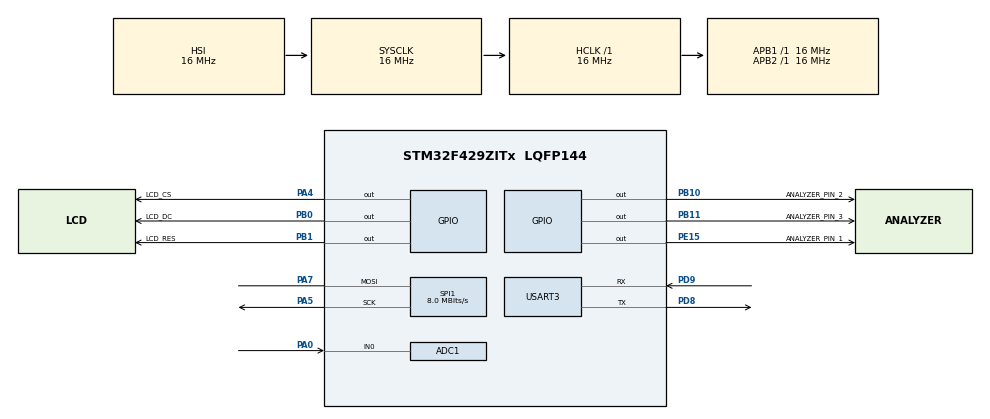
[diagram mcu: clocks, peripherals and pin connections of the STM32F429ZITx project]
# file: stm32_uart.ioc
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ADC1.Channel-0\#ChannelRegularConversion=ADC_CHANNEL_0
ADC1.DMAContinuousRequests=ENABLE
ADC1.ExternalTrigConv=ADC_EXTERNALTRIGCONV_T3_TRGO
ADC1.NbrOfConversionFlag=1
ADC1.Rank-0\#ChannelRegularConversion=1
ADC1.SamplingTime-0\#ChannelRegularConversion=ADC_SAMPLETIME_480CYCLES
ADC1.master=1
Dma.ADC1.0.Direction=DMA_PERIPH_TO_MEMORY
Dma.ADC1.0.FIFOMode=DMA_FIFOMODE_DISABLE
Dma.ADC1.0.Instance=DMA2_Stream0
Dma.ADC1.0.MemDataAlignment=DMA_MDATAALIGN_HALFWORD
Dma.ADC1.0.MemInc=DMA_MINC_ENABLE
Dma.ADC1.0.Mode=DMA_CIRCULAR
Dma.ADC1.0.PeriphDataAlignment=DMA_PDATAALIGN_HALFWORD
Dma.ADC1.0.PeriphInc=DMA_PINC_DISABLE
Dma.ADC1.0.Priority=DMA_PRIORITY_HIGH
Dma.Request0=ADC1
Dma.Request1=SPI1_TX
Dma.SPI1_TX.1.Direction=DMA_MEMORY_TO_PERIPH
Dma.SPI1_TX.1.FIFOMode=DMA_FIFOMODE_DISABLE
Dma.SPI1_TX.1.Instance=DMA2_Stream3
Dma.SPI1_TX.1.MemDataAlignment=DMA_MDATAALIGN_BYTE
Dma.SPI1_TX.1.MemInc=DMA_MINC_ENABLE
Dma.SPI1_TX.1.Mode=DMA_NORMAL
Dma.SPI1_TX.1.PeriphDataAlignment=DMA_PDATAALIGN_BYTE
Dma.SPI1_TX.1.PeriphInc=DMA_PINC_DISABLE
Dma.SPI1_TX.1.Priority=DMA_PRIORITY_LOW
Mcu.Family=STM32F4
Mcu.Name=STM32F429ZITx
Mcu.Package=LQFP144
NVIC.DMA2_Stream0_IRQn=true\:0\:0\:false\:false\:true\:false\:true\:true
NVIC.DMA2_Stream3_IRQn=true\:0\:0\:false\:false\:true\:false\:true\:true
NVIC.PriorityGroup=NVIC_PRIORITYGROUP_4
PA0/WKUP.Signal=ADCx_IN0
PA4.GPIO_Label=LCD_CS
PA4.PinState=GPIO_PIN_SET
PA4.Signal=GPIO_Output
PA5.Mode=Simplex_Bidirectional_Master
PA5.Signal=SPI1_SCK
PA7.Mode=Simplex_Bidirectional_Master
PA7.Signal=SPI1_MOSI
PB0.GPIO_Label=LCD_DC
PB0.Signal=GPIO_Output
PB1.GPIO_Label=LCD_RES
PB1.PinState=GPIO_PIN_SET
PB1.Signal=GPIO_Output
PB10.GPIO_Label=ANALYZER_PIN_2
PB10.Signal=GPIO_Output
PB11.GPIO_Label=ANALYZER_PIN_3
PB11.Signal=GPIO_Output
PD8.Mode=Asynchronous
PD8.Signal=USART3_TX
PD9.Mode=Asynchronous
PD9.Signal=USART3_RX
PE15.GPIO_Label=ANALYZER_PIN_1
PE15.Signal=GPIO_Output
ProjectManager.HeapSize=0x200
ProjectManager.StackSize=0x400
ProjectManager.TargetToolchain=CMake
RCC.AHBFreq_Value=16000000
RCC.APB1Freq_Value=16000000
RCC.APB2Freq_Value=16000000
RCC.CortexFreq_Value=16000000
RCC.HSE_VALUE=25000000
RCC.HSI_VALUE=16000000
RCC.LSE_VALUE=32768
RCC.SYSCLKFreq_VALUE=16000000
RCC.VCOOutputFreq_Value=192000000
SH.ADCx_IN0.0=ADC1_IN0,IN0
SPI1.BaudRatePrescaler=SPI_BAUDRATEPRESCALER_2
SPI1.CalculateBaudRate=8.0 MBits/s
SPI1.Direction=SPI_DIRECTION_1LINE
SPI1.Mode=SPI_MODE_MASTER
SPI1.VirtualType=VM_MASTER
TIM3.Period=999
TIM3.TIM_MasterOutputTrigger=TIM_TRGO_UPDATE
USART3.VirtualMode=VM_ASYNC
VP_TIM3_VS_ClockSourceINT.Mode=Internal
board=custom

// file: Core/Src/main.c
/* USER CODE BEGIN Header */
/**
  ******************************************************************************
  * @file           : main.c
  * @brief          : Main program body
  ******************************************************************************
  * @attention
  *
  * Copyright (c) 2025 STMicroelectronics.
  * All rights reserved.
  *
  * This software is licensed under terms that can be found in the LICENSE file
  * in the root directory of this software component.
  * If no LICENSE file comes with this software, it is provided AS-IS.
  *
  ******************************************************************************
  */
/* USER CODE END Header */
#include "main.h"
#include "adc.h"
#include "dma.h"
#include "spi.h"
#include "tim.h"
#include "usart.h"
#include "gpio.h"

/* USER CODE BEGIN Includes */
#include <stdio.h>
#include "lvgl.h"
#include "lvgl/drivers/display/lv_st7735.h"
#include "arm_math.h"
#include "arm_const_structs.h"

/* USER CODE END Includes */

/* USER CODE BEGIN PD */

// refer to ADC buffer size
#define CHUNK_SIZE 1024
#define TOTAL_BUFFER_SIZE (CHUNK_SIZE * 2)

// refer to FFT buffer size
#define FFT_FULL_BUFFER_SIZE CHUNK_SIZE

// 512
#define FFT_NUM_BINS (FFT_FULL_BUFFER_SIZE / 2)

// 511
#define FFT_NUM_COMPLEX_BINS (FFT_FULL_BUFFER_SIZE / 2 - 1)

#define PI 3.14159265358979f
#define SAMPLING_FREQ 16000.0f

#define HANN_GAIN 0.5f
#define FFT_SCALE (2.0f / (FFT_FULL_BUFFER_SIZE * HANN_GAIN))
#define EPSILON 1e-12f

#define MIN_DB (-50.0f)
#define MAX_DB (0.0f)

#define LCD_HEIGHT 128

#define LVGL_DISPLAY_WIDTH 160U
#define LVGL_DISPLAY_HEIGHT 128U
#define LVGL_DRAW_BUFFER_LINES 16U

// refer to FFT visualization
#define NUM_BARS 8

/* USER CODE END PD */

/* USER CODE BEGIN PV */
// adc samples buffer
uint16_t adc_buffer[TOTAL_BUFFER_SIZE];

// 0 - nothing ready, 1 - first half ready, 2 - second half ready
volatile uint8_t buffer_ready_flag = 0;

// input buffer passed to CMSIS FFT
float32_t fft_input_buffer[FFT_FULL_BUFFER_SIZE];

// output buffer from CMSIS FFT
float32_t fft_output_buffer[FFT_FULL_BUFFER_SIZE];

// magnitude of FFT buffer
float32_t fft_magnitude_buffer[FFT_NUM_BINS];

// CMSIS FFT instance
arm_rfft_fast_instance_f32 fft_instance;

// window coefficients
float32_t window_buffer[FFT_FULL_BUFFER_SIZE];

// bars for visualization
float bars[NUM_BARS];

static uint16_t lvgl_draw_buffer[LVGL_DISPLAY_WIDTH * LVGL_DRAW_BUFFER_LINES];
static uint8_t lvgl_pixel_swap_buffer[128];
static lv_obj_t *peak_frequency_label;
static volatile uint32_t latest_peak_hz;
static volatile uint8_t latest_peak_valid;

/* USER CODE END PV */

void SystemClock_Config(void);
/* USER CODE BEGIN PFP */
static void lvgl_lcd_send_cmd(lv_display_t *display, const uint8_t *command, size_t command_size,
                              const uint8_t *parameters, size_t parameter_size);
static void lvgl_lcd_send_color(lv_display_t *display, const uint8_t *command, size_t command_size,
                                uint8_t *pixels, size_t pixel_size);
static void lvgl_display_init(void);
static void peak_frequency_timer_cb(lv_timer_t *timer);

/* USER CODE END PFP */

/* USER CODE BEGIN 0 */

static void lvgl_lcd_send_cmd(lv_display_t *display, const uint8_t *command, size_t command_size,
                              const uint8_t *parameters, size_t parameter_size)
{
    (void)display;

    HAL_GPIO_WritePin(LCD_CS_GPIO_Port, LCD_CS_Pin, GPIO_PIN_RESET);
    HAL_GPIO_WritePin(LCD_DC_GPIO_Port, LCD_DC_Pin, GPIO_PIN_RESET);
    if (HAL_SPI_Transmit(&hspi1, (uint8_t *)command, (uint16_t)command_size, HAL_MAX_DELAY) != HAL_OK) {
        Error_Handler();
    }

    if (parameter_size > 0U) {
        HAL_GPIO_WritePin(LCD_DC_GPIO_Port, LCD_DC_Pin, GPIO_PIN_SET);
        if (HAL_SPI_Transmit(&hspi1, (uint8_t *)parameters, (uint16_t)parameter_size, HAL_MAX_DELAY) != HAL_OK) {
            Error_Handler();
        }
    }

    HAL_GPIO_WritePin(LCD_CS_GPIO_Port, LCD_CS_Pin, GPIO_PIN_SET);
}

static void lvgl_lcd_send_color(lv_display_t *display, const uint8_t *command, size_t command_size,
                                uint8_t *pixels, size_t pixel_size)
{
    if ((pixel_size & 1U) != 0U) {
        Error_Handler();
    }

    HAL_GPIO_WritePin(LCD_CS_GPIO_Port, LCD_CS_Pin, GPIO_PIN_RESET);
    HAL_GPIO_WritePin(LCD_DC_GPIO_Port, LCD_DC_Pin, GPIO_PIN_RESET);
    if (HAL_SPI_Transmit(&hspi1, (uint8_t *)command, (uint16_t)command_size, HAL_MAX_DELAY) != HAL_OK) {
        Error_Handler();
    }

    HAL_GPIO_WritePin(LCD_DC_GPIO_Port, LCD_DC_Pin, GPIO_PIN_SET);

    /* ST7735 expects RGB565 pixels most-significant byte first. */
    for (size_t offset = 0U; offset < pixel_size;) {
        size_t chunk_size = pixel_size - offset;
        if (chunk_size > sizeof(lvgl_pixel_swap_buffer)) {
            chunk_size = sizeof(lvgl_pixel_swap_buffer);
        }
        chunk_size &= ~(size_t)1U;

        for (size_t i = 0U; i < chunk_size; i += 2U) {
            lvgl_pixel_swap_buffer[i] = pixels[offset + i + 1U];
            lvgl_pixel_swap_buffer[i + 1U] = pixels[offset + i];
        }

        if (HAL_SPI_Transmit(&hspi1, lvgl_pixel_swap_buffer, (uint16_t)chunk_size, HAL_MAX_DELAY) != HAL_OK) {
            Error_Handler();
        }
        offset += chunk_size;
    }

    HAL_GPIO_WritePin(LCD_CS_GPIO_Port, LCD_CS_Pin, GPIO_PIN_SET);
    lv_display_flush_ready(display);
}

static void lvgl_display_init(void)
{
    /* The ST7735S module used in the tutorial is 160x128 in landscape mode. */
    static const uint8_t forbot_st7735_init[] = {
        0xB1U, 3U, 0x01U, 0x2CU, 0x2DU,
        0xB2U, 3U, 0x01U, 0x2CU, 0x2DU,
        0xB3U, 6U, 0x01U, 0x2CU, 0x2DU, 0x01U, 0x2CU, 0x2DU,
        0xB4U, 1U, 0x07U,
        0xC0U, 3U, 0xA2U, 0x02U, 0x84U,
        0xC1U, 1U, 0xC5U,
        0xC2U, 2U, 0x0AU, 0x00U,
        0xC3U, 2U, 0x8AU, 0x2AU,
        0xC4U, 2U, 0x8AU, 0xEEU,
        0xC5U, 1U, 0x0EU,
        0xE0U, 16U, 0x0FU, 0x1AU, 0x0FU, 0x18U, 0x2FU, 0x28U, 0x20U, 0x22U,
                   0x1FU, 0x1BU, 0x23U, 0x37U, 0x00U, 0x07U, 0x02U, 0x10U,
        0xE1U, 16U, 0x0FU, 0x1BU, 0x0FU, 0x17U, 0x33U, 0x2CU, 0x29U, 0x2EU,
                   0x30U, 0x30U, 0x39U, 0x3FU, 0x00U, 0x07U, 0x03U, 0x10U,
        0xF0U, 1U, 0x01U,
        0xF6U, 1U, 0x00U,
        0x3AU, 1U, 0x05U,
        0x36U, 1U, 0xA0U,
        LV_LCD_CMD_DELAY_MS, 20U,
        0x11U, 0U,
        LV_LCD_CMD_DELAY_MS, 12U,
        0x29U, 0U,
        LV_LCD_CMD_DELAY_MS, 2U,
        LV_LCD_CMD_DELAY_MS, LV_LCD_CMD_EOF
    };

    HAL_GPIO_WritePin(LCD_CS_GPIO_Port, LCD_CS_Pin, GPIO_PIN_SET);
    HAL_GPIO_WritePin(LCD_RES_GPIO_Port, LCD_RES_Pin, GPIO_PIN_RESET);
    HAL_Delay(20U);
    HAL_GPIO_WritePin(LCD_RES_GPIO_Port, LCD_RES_Pin, GPIO_PIN_SET);
    HAL_Delay(120U);

    lv_init();
    lv_tick_set_cb(HAL_GetTick);

    lv_display_t *display = lv_st7735_create(LVGL_DISPLAY_WIDTH, LVGL_DISPLAY_HEIGHT, LV_LCD_FLAG_NONE,
                                             lvgl_lcd_send_cmd, lvgl_lcd_send_color);
    if (display == NULL) {
        Error_Handler();
    }

    lv_display_set_default(display);
    lv_display_set_color_format(display, LV_COLOR_FORMAT_RGB565);
    lv_display_set_buffers(display, lvgl_draw_buffer, NULL, sizeof(lvgl_draw_buffer),
                           LV_DISPLAY_RENDER_MODE_PARTIAL);

    /* Use the init values from the Forbot ST7735S tutorial, including landscape MADCTL. */
    lv_st7735_send_cmd_list(display, forbot_st7735_init);

    lv_obj_t *screen = lv_display_get_screen_active(display);
    lv_obj_set_style_bg_color(screen, lv_color_hex(0x000000U), LV_PART_MAIN);
    lv_obj_set_style_bg_opa(screen, LV_OPA_COVER, LV_PART_MAIN);
    lv_obj_set_style_border_width(screen, 0, LV_PART_MAIN);
    /* The panel keeps its GRAM contents across software resets. Redraw the whole
     * screen so pixels from the previous flag test are replaced with black. */
    lv_obj_invalidate(screen);

    peak_frequency_label = lv_label_create(screen);
    lv_label_set_text(peak_frequency_label, "--.- Hz");
    lv_obj_set_style_text_color(peak_frequency_label, lv_color_hex(0xFFFFFFU), LV_PART_MAIN);
    lv_obj_align(peak_frequency_label, LV_ALIGN_CENTER, 0, 0);

    if (lv_timer_create(peak_frequency_timer_cb, 100U, NULL) == NULL) {
        Error_Handler();
    }
}

static void peak_frequency_timer_cb(lv_timer_t *timer)
{
    (void)timer;
    static uint8_t displayed_valid;
    static uint32_t displayed_peak_hz;

    if (latest_peak_valid == 0U) {
        return;
    }

    const uint32_t peak_hz = latest_peak_hz;
    if (displayed_valid != 0U && peak_hz == displayed_peak_hz) {
        return;
    }

    lv_label_set_text_fmt(peak_frequency_label, "%lu Hz", (unsigned long)peak_hz);
    displayed_peak_hz = peak_hz;
    displayed_valid = 1U;
}

void process_data(uint16_t* data, uint16_t length)
{
    // start measuring signal processing part
    HAL_GPIO_WritePin(ANALYZER_PIN_2_GPIO_Port, ANALYZER_PIN_2_Pin, GPIO_PIN_SET);

    // convert from uint16_t to float
    for (size_t i = 0; i < length; i++)
    {
        fft_input_buffer[i] = (float32_t) data[i];
    }

    float32_t mean;

    // calculate mean
    arm_mean_f32(fft_input_buffer, length, &mean);

    // remove DC offset
    arm_offset_f32(fft_input_buffer, -mean, fft_input_buffer, length);

    // normalize signal to approx -1.0 - +1.0
    for (size_t i = 0; i < length; ++i)
    {
        fft_input_buffer[i] /= 2048.f;
    }

    // apply window function
    arm_mult_f32(fft_input_buffer, window_buffer, fft_input_buffer, length);

    // do the FFT
    arm_rfft_fast_f32(&fft_instance, fft_input_buffer, fft_output_buffer, 0);

    // magnitude
    // CMSIS-DSP arm_rfft_fast_f32 output format:
    // fft_output_buffer[0] = Re(DC)
    // fft_output_buffer[1] = Re(Nyquist)
    // fft_output_buffer[2] = Re(bin 1)
    // fft_output_buffer[3] = Im(bin 1)
    // fft_output_buffer[4] = Re(bin 2)
    // fft_output_buffer[5] = Im(bin 2)
    // ...
    // we ignore Nyquist bin

    // DC
    fft_magnitude_buffer[0] = fabsf(fft_output_buffer[0]);

    // bins 1.. N/2 - 1
    for (size_t bin = 1; bin <= FFT_NUM_COMPLEX_BINS; ++bin)
    {
        const float32_t real = fft_output_buffer[2 * bin];
        const float32_t imag = fft_output_buffer[(2 * bin) + 1];
        fft_magnitude_buffer[bin] = sqrtf(real * real + imag * imag);
    }

    // normalize magnitude

    // for real input and one-sided spectrum:
    // - DC: amplitude = magnitude / (N * window_gain)
    // - ordinary bins: amplitude = (2 * magnitude) / (N * window_gain)
    // for Hann - window_gain = 0.5. therefore:
    // - DC: amplitude = magnitude / (N * 0.5)
    // - ordinary bins: amplitude = (2 * magnitude) / (N * 0.5)

    // DC
    fft_magnitude_buffer[0] /= FFT_FULL_BUFFER_SIZE * HANN_GAIN;

    // ordinary bins
    for (size_t bin = 1; bin <= FFT_NUM_COMPLEX_BINS; ++bin)
    {
      fft_magnitude_buffer[bin] *= FFT_SCALE;
    }

    // magnitude -> db
    for (size_t bin = 0; bin < FFT_NUM_BINS; ++bin)
    {
        fft_magnitude_buffer[bin] = 20.0f * log10f(fmaxf(fft_magnitude_buffer[bin], EPSILON));
    }

    // // debug: print min and max FFT magnitude in dB
    // float32_t min_db = fft_magnitude_buffer[0];
    // float32_t max_db = fft_magnitude_buffer[0];

    // for (size_t bin = 1; bin < FFT_NUM_BINS; ++bin)
    // {
    //     if (fft_magnitude_buffer[bin] < min_db)
    //     {
    //         min_db = fft_magnitude_buffer[bin];
    //     }

    //     if (fft_magnitude_buffer[bin] > max_db)
    //     {
    //         max_db = fft_magnitude_buffer[bin];
    //     }
    // }

    // printf("min=%d,max=%d\n", (int)lrintf(min_db), (int)lrintf(max_db));

    // peak detector
    float peak_db = 0.0f;
    uint32_t peak_bin = 0U;

    // skip bin 0 because DC should not be interesting after DC removal
    arm_max_f32(&fft_magnitude_buffer[1], FFT_NUM_BINS - 1, &peak_db, &peak_bin);

    // arm_max_f32() searched starting at bin 1 - therefore restore the actual fft bin index
    peak_bin++;

    const float peak_hz = ((float32_t) peak_bin * SAMPLING_FREQ) / FFT_FULL_BUFFER_SIZE;
    latest_peak_hz = (uint32_t)peak_hz;
    latest_peak_valid = 1U;

    // linear grouping into bars
    // we group bins 0 ... 511 into NUM_BARS groups

    for (size_t bar = 0; bar < NUM_BARS; ++bar)
    {
        const size_t first_bin = (bar * FFT_NUM_BINS) / NUM_BARS;
        const size_t last_bin = ((bar + 1) * FFT_NUM_BINS) / NUM_BARS;

        float bar_db = MIN_DB;

        for (size_t bin = first_bin; bin < last_bin; ++bin)
        {
            if (fft_magnitude_buffer[bin] > bar_db)
            {
                bar_db = fft_magnitude_buffer[bin];
            }
        }

        // clamp to display range
        if (bar_db < MIN_DB)
        {
            bar_db = MIN_DB;
        }

        if (bar_db > MAX_DB)
        {
            bar_db = MAX_DB;
        }

        // map dB to LCD height
        const float32_t normalized = (bar_db - MIN_DB) / (MAX_DB - MIN_DB);
        const uint16_t bar_height = (uint16_t) (normalized * LCD_HEIGHT);
        bars[bar] = bar_height;
    }

    // stop measuring signal processing part
    HAL_GPIO_WritePin(ANALYZER_PIN_2_GPIO_Port, ANALYZER_PIN_2_Pin, GPIO_PIN_RESET);

    // start measuring visualization time
    HAL_GPIO_WritePin(ANALYZER_PIN_3_GPIO_Port, ANALYZER_PIN_3_Pin, GPIO_PIN_SET);

    // visualize bars
    for (size_t bar = 0; bar < NUM_BARS; ++bar)
    {
        printf("%d,", (int) bars[bar]);
    }
    printf("\n");

    // stop measuring visualization time
    HAL_GPIO_WritePin(ANALYZER_PIN_3_GPIO_Port, ANALYZER_PIN_3_Pin, GPIO_PIN_RESET);

}

void generate_hanning_window(float32_t* p_dst, uint16_t length)
{
    for (uint32_t i = 0; i < length; ++i)
    {
        p_dst[i] = 0.5f * (1.0f - arm_cos_f32(2.0f * PI * (float32_t)i / (float32_t) length));
    }
}

/* USER CODE END 0 */

int main(void)
{

  /* MCU Configuration--------------------------------------------------------*/

  /* Reset of all peripherals, Initializes the Flash interface and the Systick. */
  HAL_Init();

  /* Configure the system clock */
  SystemClock_Config();

  /* Initialize all configured peripherals */
  MX_GPIO_Init();
  MX_DMA_Init();
  MX_USART3_UART_Init();
  MX_ADC1_Init();
  MX_TIM3_Init();
  MX_SPI1_Init();
  /* USER CODE BEGIN 2 */
  lvgl_display_init();

  HAL_TIM_Base_Start(&htim3);
  HAL_ADC_Start_DMA(&hadc1, (uint32_t*)adc_buffer, TOTAL_BUFFER_SIZE);

  // init FFT
  arm_rfft_fast_init_f32(&fft_instance, FFT_FULL_BUFFER_SIZE);

  generate_hanning_window(window_buffer, FFT_FULL_BUFFER_SIZE);

  /* USER CODE END 2 */

  /* Infinite loop */
  /* USER CODE BEGIN WHILE */
  while (1)
  {
    lv_timer_handler();

    if (buffer_ready_flag == 1)
    {
      // process first half of the buffer
      process_data(&adc_buffer[0], CHUNK_SIZE);

      // clean the flag
      buffer_ready_flag = 0;
    }
    else if (buffer_ready_flag == 2)
    {
      // process second half of the buffer
      process_data(&adc_buffer[CHUNK_SIZE], CHUNK_SIZE);

      // clean the flag
      buffer_ready_flag = 0;
    }
    /* USER CODE END WHILE */

  }
}

void SystemClock_Config(void)
{
  RCC_OscInitTypeDef RCC_OscInitStruct = {0};
  RCC_ClkInitTypeDef RCC_ClkInitStruct = {0};

  /** Configure the main internal regulator output voltage
  */
  __HAL_RCC_PWR_CLK_ENABLE();
  __HAL_PWR_VOLTAGESCALING_CONFIG(PWR_REGULATOR_VOLTAGE_SCALE3);

  /** Initializes the RCC Oscillators according to the specified parameters
  * in the RCC_OscInitTypeDef structure.
  */
  RCC_OscInitStruct.OscillatorType = RCC_OSCILLATORTYPE_HSI;
  RCC_OscInitStruct.HSIState = RCC_HSI_ON;
  RCC_OscInitStruct.HSICalibrationValue = RCC_HSICALIBRATION_DEFAULT;
  RCC_OscInitStruct.PLL.PLLState = RCC_PLL_NONE;
  if (HAL_RCC_OscConfig(&RCC_OscInitStruct) != HAL_OK)
  {
    Error_Handler();
  }

  /** Initializes the CPU, AHB and APB buses clocks
  */
  RCC_ClkInitStruct.ClockType = RCC_CLOCKTYPE_HCLK|RCC_CLOCKTYPE_SYSCLK
                              |RCC_CLOCKTYPE_PCLK1|RCC_CLOCKTYPE_PCLK2;
  RCC_ClkInitStruct.SYSCLKSource = RCC_SYSCLKSOURCE_HSI;
  RCC_ClkInitStruct.AHBCLKDivider = RCC_SYSCLK_DIV1;
  RCC_ClkInitStruct.APB1CLKDivider = RCC_HCLK_DIV1;
  RCC_ClkInitStruct.APB2CLKDivider = RCC_HCLK_DIV1;

  if (HAL_RCC_ClockConfig(&RCC_ClkInitStruct, FLASH_LATENCY_0) != HAL_OK)
  {
    Error_Handler();
  }
}

/* USER CODE BEGIN 4 */
int _write(int file, char *ptr, int len)
{
    HAL_UART_Transmit(&huart3, (uint8_t *)ptr, len, 10);
    return len;
}

void HAL_ADC_ConvHalfCpltCallback(ADC_HandleTypeDef* hadc)
{
    HAL_GPIO_WritePin(ANALYZER_PIN_1_GPIO_Port, ANALYZER_PIN_1_Pin, GPIO_PIN_SET);
    if (hadc->Instance == ADC1)
    {
        buffer_ready_flag = 1;
    }
}

void HAL_ADC_ConvCpltCallback(ADC_HandleTypeDef* hadc)
{
    HAL_GPIO_WritePin(ANALYZER_PIN_1_GPIO_Port, ANALYZER_PIN_1_Pin, GPIO_PIN_RESET);
    if (hadc->Instance == ADC1)
    {
        buffer_ready_flag = 2;
    }
}

/* USER CODE END 4 */

void Error_Handler(void)
{
  __disable_irq();
  while (1)
  {
  }
}
